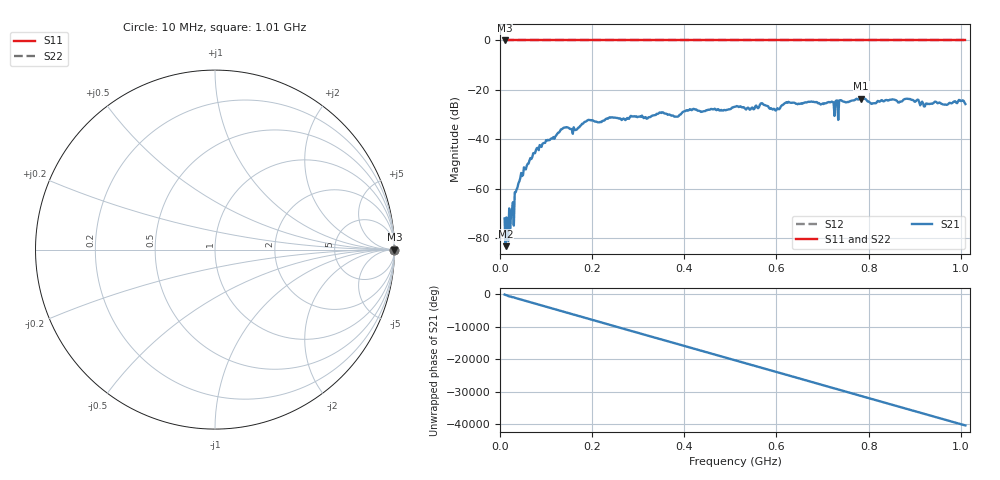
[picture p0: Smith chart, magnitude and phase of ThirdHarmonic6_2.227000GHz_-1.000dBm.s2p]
! 8/17/2025 2:30:32 AM
! C:\ANRITSUVNA\TEMP\TEMP.S2P
! CHANNEL.1
! TR.MEASUREMENT
! RAW.DATA
! RF.CORRECTION.OFF
! AVERAGING.OFF
! IF.BANDWIDTH: 5KHZ
! SWEEPTYPE:  FREQ.SWEEP(Linear)
! Reference Plane Port Info
! PORT:  PORT1  PORT2
! DISTANCE:  0  m  0  m
! TIME:  0  s  0  s
! PHASE.OFFSET:  0  deg.  0  deg.
! LOSS:  0  dB  0  dB
! REF.LOSS:  0  dB  0  dB
! REF.FREQ:  0  Hz  0  Hz
! Power Info
! POWER:  -20  dBm  -20  dBm
! EFF.POWER:  -20  dBm  -20  dBm
! SOURCE.ATTEN:  0  dB  0  dB
! TEST.ATTEN:  0  dB  0  dB
# GHZ S RI R 50.0
! FREQ.GHZ  S11RE  S11IM  S21RE  S21IM  S12RE  S12IM  S22RE  S22IM
!; PortSelection: Port_12
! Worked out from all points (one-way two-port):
!   501 points, 10 MHz to 1.01 GHz, reference 50 ohm
!   highest |S21| = -23.49 dB at 784 MHz (marker M1); lowest = -83.2 dB at 12 MHz (marker M2)
!   lowest |S11| = 0.0 dB at 10 MHz (marker M3)
!   |S11| at or under -10 dB: nowhere
!   |S22| runs from 0.0 to 0.0 dB; largest |S21 - S12| = 1.1
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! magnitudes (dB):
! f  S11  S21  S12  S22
! 10 MHz  0.0  -72.0  0.0  0.0
! 12 MHz  0.0  -83.2  0.0  0.0
! 14 MHz  0.0  -71.6  0.0  0.0
! 20 MHz  0.0  -67.9  0.0  0.0
! 24 MHz  0.0  -70.5  0.0  0.0
! 26 MHz  0.0  -68.9  0.0  0.0
! 36 MHz  0.0  -60.3  0.0  0.0
! 42 MHz  0.0  -57.0  0.0  0.0
! 76 MHz  0.0  -45.6  0.0  0.0
! 136 MHz  0.0  -35.7  0.0  0.0
! 178 MHz  0.0  -33.7  0.0  0.0
! 344 MHz  0.0  -29.6  0.0  0.0
! 382 MHz  0.0  -30.8  0.0  0.0
! 510 MHz  0.0  -26.8  0.0  0.0
! 570 MHz  0.0  -25.6  0.0  0.0
! 596 MHz  0.0  -27.8  0.0  0.0
! 678 MHz  0.0  -24.8  0.0  0.0
! 730 MHz  0.0  -24.3  0.0  0.0
! 740 MHz  0.0  -24.2  0.0  0.0
! 784 MHz  0.0  -23.5  0.0  0.0
! 844 MHz  0.0  -24.2  0.0  0.0
! 1.01 GHz  0.0  -25.7  0.0  0.0
